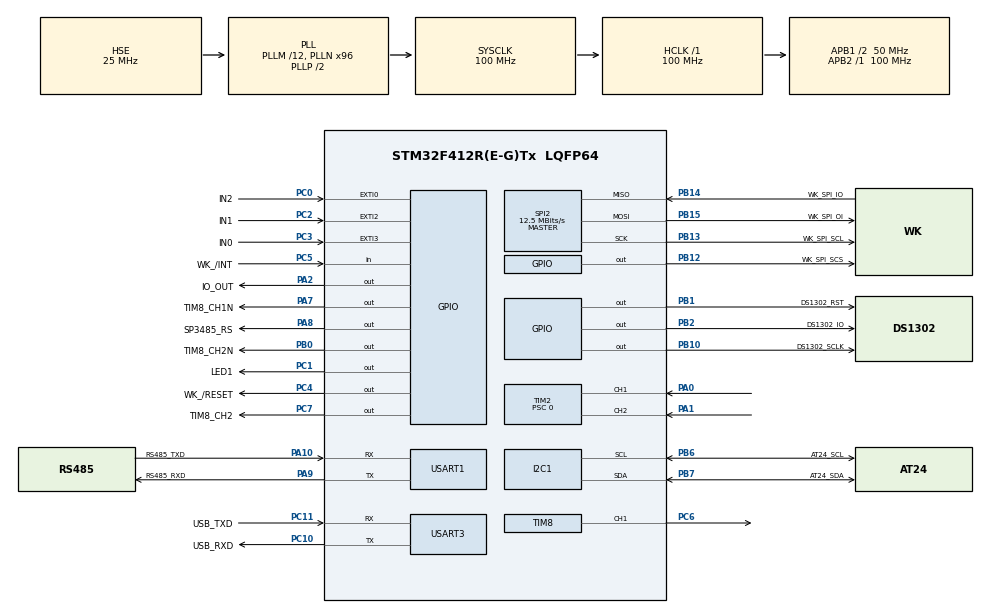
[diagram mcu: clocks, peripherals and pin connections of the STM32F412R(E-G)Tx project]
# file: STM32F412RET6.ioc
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Dma.Request0=USART1_RX
Dma.Request1=USART1_TX
Dma.USART1_RX.0.Direction=DMA_PERIPH_TO_MEMORY
Dma.USART1_RX.0.FIFOMode=DMA_FIFOMODE_DISABLE
Dma.USART1_RX.0.Instance=DMA2_Stream2
Dma.USART1_RX.0.MemDataAlignment=DMA_MDATAALIGN_BYTE
Dma.USART1_RX.0.MemInc=DMA_MINC_ENABLE
Dma.USART1_RX.0.Mode=DMA_NORMAL
Dma.USART1_RX.0.PeriphDataAlignment=DMA_PDATAALIGN_BYTE
Dma.USART1_RX.0.PeriphInc=DMA_PINC_DISABLE
Dma.USART1_RX.0.Priority=DMA_PRIORITY_LOW
Dma.USART1_TX.1.Direction=DMA_MEMORY_TO_PERIPH
Dma.USART1_TX.1.FIFOMode=DMA_FIFOMODE_DISABLE
Dma.USART1_TX.1.Instance=DMA2_Stream7
Dma.USART1_TX.1.MemDataAlignment=DMA_MDATAALIGN_BYTE
Dma.USART1_TX.1.MemInc=DMA_MINC_ENABLE
Dma.USART1_TX.1.Mode=DMA_NORMAL
Dma.USART1_TX.1.PeriphDataAlignment=DMA_PDATAALIGN_BYTE
Dma.USART1_TX.1.PeriphInc=DMA_PINC_DISABLE
Dma.USART1_TX.1.Priority=DMA_PRIORITY_LOW
FREERTOS.Queues01=myQueue01,5,uint8_t,0,Dynamic,NULL,NULL
FREERTOS.Tasks01=defaultTask,24,128,StartDefaultTask,Default,NULL,Dynamic,NULL,NULL;myTask01,8,128,StartTask01,Default,NULL,Dynamic,NULL,NULL
FREERTOS.configMAX_TASK_NAME_LEN=32
I2C1.I2C_Mode=I2C_Fast
Mcu.Family=STM32F4
Mcu.Name=STM32F412R(E-G)Tx
Mcu.Package=LQFP64
NVIC.DMA2_Stream2_IRQn=true\:5\:0\:false\:false\:true\:true\:false\:true\:true
NVIC.DMA2_Stream7_IRQn=true\:5\:0\:false\:false\:true\:true\:false\:true\:true
NVIC.EXTI0_IRQn=true\:5\:0\:false\:false\:true\:true\:true\:true\:true
NVIC.EXTI2_IRQn=true\:5\:0\:false\:false\:true\:true\:true\:true\:true
NVIC.EXTI3_IRQn=true\:5\:0\:false\:false\:true\:true\:true\:true\:true
NVIC.I2C1_ER_IRQn=true\:5\:0\:false\:false\:true\:true\:true\:true\:true
NVIC.I2C1_EV_IRQn=true\:5\:0\:false\:false\:true\:true\:true\:true\:true
NVIC.PriorityGroup=NVIC_PRIORITYGROUP_4
NVIC.SPI2_IRQn=true\:5\:0\:false\:false\:true\:true\:true\:true\:true
NVIC.TIM1_UP_TIM10_IRQn=true\:15\:0\:false\:false\:true\:false\:false\:true\:true
NVIC.TIM2_IRQn=true\:5\:0\:true\:false\:true\:true\:true\:true\:true
NVIC.TIM3_IRQn=true\:6\:0\:true\:false\:true\:true\:true\:true\:true
NVIC.TIM8_BRK_TIM12_IRQn=true\:5\:0\:false\:false\:true\:true\:true\:true\:true
NVIC.TIM8_CC_IRQn=true\:5\:0\:false\:false\:true\:true\:true\:true\:true
NVIC.TIM8_TRG_COM_TIM14_IRQn=true\:5\:0\:false\:false\:true\:true\:true\:true\:true
NVIC.TIM8_UP_TIM13_IRQn=true\:5\:0\:false\:false\:true\:true\:true\:true\:true
NVIC.TimeBase=TIM1_UP_TIM10_IRQn
NVIC.TimeBaseIP=TIM1
NVIC.USART1_IRQn=true\:5\:0\:false\:false\:true\:true\:true\:true\:true
NVIC.USART3_IRQn=true\:5\:0\:false\:false\:true\:true\:true\:true\:true
PA0.GPIO_PuPd=GPIO_PULLUP
PA0.Signal=S_TIM2_CH1_ETR
PA1.GPIO_PuPd=GPIO_PULLUP
PA1.Signal=S_TIM2_CH2
PA10.GPIO_Label=RS485_TXD
PA10.Mode=Asynchronous
PA10.Signal=USART1_RX
PA13.GPIO_Label=TMS
PA13.Mode=JTAG_5_pins
PA13.Signal=SYS_JTMS-SWDIO
PA14.GPIO_Label=TCK
PA14.Mode=JTAG_5_pins
PA14.Signal=SYS_JTCK-SWCLK
PA15.GPIO_Label=TDI
PA15.Mode=JTAG_5_pins
PA15.Signal=SYS_JTDI
PA2.GPIO_Label=IO_OUT
PA2.GPIO_PuPd=GPIO_PULLDOWN
PA2.Signal=GPIO_Output
PA7.GPIO_Label=TIM8_CH1N
PA7.GPIO_PuPd=GPIO_PULLDOWN
PA7.Signal=GPIO_Output
PA8.GPIO_Label=SP3485_RS
PA8.Signal=GPIO_Output
PA9.GPIO_Label=RS485_RXD
PA9.Mode=Asynchronous
PA9.Signal=USART1_TX
PB0.GPIO_Label=TIM8_CH2N
PB0.GPIO_PuPd=GPIO_PULLUP
PB0.Signal=GPIO_Output
PB1.GPIO_Label=DS1302_RST
PB1.Signal=GPIO_Output
PB10.GPIO_Label=DS1302_SCLK
PB10.GPIO_PuPd=GPIO_PULLUP
PB10.Signal=GPIO_Output
PB12.GPIO_Label=WK_SPI_SCS
PB12.GPIO_ModeDefaultOutputPP=GPIO_MODE_OUTPUT_PP
PB12.GPIO_PuPd=GPIO_PULLUP
PB12.Signal=GPIO_Output
PB13.GPIO_Label=WK_SPI_SCL
PB13.Mode=Full_Duplex_Master
PB13.Signal=SPI2_SCK
PB14.GPIO_Label=WK_SPI_IO
PB14.Mode=Full_Duplex_Master
PB14.Signal=SPI2_MISO
PB15.GPIO_Label=WK_SPI_OI
PB15.Mode=Full_Duplex_Master
PB15.Signal=SPI2_MOSI
PB2.GPIO_Label=DS1302_IO
PB2.Signal=GPIO_Output
PB3.GPIO_Label=TDO
PB3.Mode=JTAG_5_pins
PB3.Signal=SYS_JTDO-SWO
PB4.GPIO_Label=NTRST
PB4.Mode=JTAG_5_pins
PB4.Signal=SYS_JTRST
PB6.GPIO_Label=AT24_SCL
PB6.Mode=I2C
PB6.Signal=I2C1_SCL
PB7.GPIO_Label=AT24_SDA
PB7.Mode=I2C
PB7.Signal=I2C1_SDA
PC0.GPIO_Label=IN2
PC0.GPIO_ModeDefaultEXTI=GPIO_MODE_IT_FALLING
PC0.Signal=GPXTI0
PC1.GPIO_Label=LED1
PC1.GPIO_PuPd=GPIO_PULLUP
PC1.Signal=GPIO_Output
PC10.GPIO_Label=USB_RXD
PC10.Mode=Asynchronous
PC10.Signal=USART3_TX
PC11.GPIO_Label=USB_TXD
PC11.Mode=Asynchronous
PC11.Signal=USART3_RX
PC2.GPIO_Label=IN1
PC2.GPIO_ModeDefaultEXTI=GPIO_MODE_IT_FALLING
PC2.Signal=GPXTI2
PC3.GPIO_Label=IN0
PC3.GPIO_ModeDefaultEXTI=GPIO_MODE_IT_FALLING
PC3.Signal=GPXTI3
PC4.GPIO_Label=WK_/RESET
PC4.Signal=GPIO_Output
PC5.GPIO_Label=WK_/INT
PC5.Signal=GPIO_Input
PC6.GPIO_Speed=GPIO_SPEED_FREQ_HIGH
PC6.Signal=S_TIM8_CH1
PC7.GPIO_Label=TIM8_CH2
PC7.GPIO_PuPd=GPIO_PULLUP
PC7.Signal=GPIO_Output
PH0\ -\ OSC_IN.Mode=HSE-External-Oscillator
PH0\ -\ OSC_IN.Signal=RCC_OSC_IN
PH1\ -\ OSC_OUT.Mode=HSE-External-Oscillator
PH1\ -\ OSC_OUT.Signal=RCC_OSC_OUT
ProjectManager.HeapSize=0x200
ProjectManager.StackSize=0x400
ProjectManager.TargetToolchain=MDK-ARM V5.32
RCC.AHBFreq_Value=100000000
RCC.APB1CLKDivider=RCC_HCLK_DIV2
RCC.APB1Freq_Value=50000000
RCC.APB1TimFreq_Value=100000000
RCC.APB2Freq_Value=100000000
RCC.APB2TimFreq_Value=100000000
RCC.CortexFreq_Value=100000000
RCC.HCLKFreq_Value=100000000
RCC.PLLM=12
RCC.PLLN=96
RCC.PLLSourceVirtual=RCC_PLLSOURCE_HSE
RCC.SYSCLKFreq_VALUE=100000000
RCC.SYSCLKSource=RCC_SYSCLKSOURCE_PLLCLK
RCC.USBFreq_Value=100000000
RCC.VCOOutputFreq_Value=200000000
SH.S_TIM2_CH1_ETR.0=TIM2_CH1,Encoder_Interface
SH.S_TIM2_CH2.0=TIM2_CH2,Encoder_Interface
SH.S_TIM8_CH1.0=TIM8_CH1,PWM Generation1 CH1
SPI2.BaudRatePrescaler=SPI_BAUDRATEPRESCALER_4
SPI2.CLKPhase=SPI_PHASE_2EDGE
SPI2.CLKPolarity=SPI_POLARITY_HIGH
SPI2.CalculateBaudRate=12.5 MBits/s
SPI2.Direction=SPI_DIRECTION_2LINES
SPI2.Mode=SPI_MODE_MASTER
SPI2.VirtualType=VM_MASTER
TIM13.Period=500-1
TIM13.Prescaler=10-1
TIM2.EncoderMode=TIM_ENCODERMODE_TI12
TIM2.IC1Filter=6
TIM2.IC2Filter=6
TIM2.Period=20000
TIM2.Prescaler=0
TIM3.AutoReloadPreload=TIM_AUTORELOAD_PRELOAD_ENABLE
TIM3.Period=10-1
TIM3.Prescaler=100-1
TIM8.AutoReloadPreload=TIM_AUTORELOAD_PRELOAD_ENABLE
TIM8.Channel-PWM\ Generation1\ CH1=TIM_CHANNEL_1
TIM8.Period=50-1
TIM8.Prescaler=100-1
TIM8.Pulse-PWM\ Generation1\ CH1=5
USART1.VirtualMode=VM_ASYNC
USART3.VirtualMode=VM_ASYNC
VP_FREERTOS_VS_CMSIS_V2.Mode=CMSIS_V2
VP_SYS_VS_tim1.Mode=TIM1
VP_TIM13_VS_ClockSourceINT.Mode=Enable_Timer
VP_TIM3_VS_ClockSourceINT.Mode=Internal
board=custom

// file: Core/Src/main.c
/* USER CODE BEGIN Header */
/**
  ******************************************************************************
  * @file           : main.c
  * @brief          : Main program body
  ******************************************************************************
  * @attention
  *
  * Copyright (c) 2024 STMicroelectronics.
  * All rights reserved.
  *
  * This software is licensed under terms that can be found in the LICENSE file
  * in the root directory of this software component.
  * If no LICENSE file comes with this software, it is provided AS-IS.
  *
  ******************************************************************************
  */
/* USER CODE END Header */
#include "main.h"
#include "cmsis_os.h"
#include "dma.h"
#include "i2c.h"
#include "spi.h"
#include "tim.h"
#include "usart.h"
#include "gpio.h"

/* USER CODE BEGIN PTD */
float speed_Record[SPEED_RECORD_NUM]={0};

/* USER CODE END PTD */

/* USER CODE BEGIN PD */
float Speed_Low_Filter(float new_Spe,float *speed_Record);
/* USER CODE END PD */

void SystemClock_Config(void);
void MX_FREERTOS_Init(void);

int main(void)
{

  /* MCU Configuration--------------------------------------------------------*/

  /* Reset of all peripherals, Initializes the Flash interface and the Systick. */
  HAL_Init();

  /* Configure the system clock */
  SystemClock_Config();

  /* Initialize all configured peripherals */
  MX_GPIO_Init();
  MX_DMA_Init();
  MX_TIM2_Init();
  MX_USART1_UART_Init();
  MX_I2C1_Init();
  MX_SPI2_Init();
  MX_TIM3_Init();
  MX_TIM8_Init();
  MX_TIM13_Init();
  MX_USART3_UART_Init();

  /* Init scheduler */
  osKernelInitialize();  /* Call init function for freertos objects (in freertos.c) */
  MX_FREERTOS_Init();

  /* Start scheduler */
  osKernelStart();

  /* We should never get here as control is now taken by the scheduler */
  /* Infinite loop */
  while (1)
  {

  }
}

void SystemClock_Config(void)
{
  RCC_OscInitTypeDef RCC_OscInitStruct = {0};
  RCC_ClkInitTypeDef RCC_ClkInitStruct = {0};

  /** Configure the main internal regulator output voltage
  */
  __HAL_RCC_PWR_CLK_ENABLE();
  __HAL_PWR_VOLTAGESCALING_CONFIG(PWR_REGULATOR_VOLTAGE_SCALE1);

  /** Initializes the RCC Oscillators according to the specified parameters
  * in the RCC_OscInitTypeDef structure.
  */
  RCC_OscInitStruct.OscillatorType = RCC_OSCILLATORTYPE_HSE;
  RCC_OscInitStruct.HSEState = RCC_HSE_ON;
  RCC_OscInitStruct.PLL.PLLState = RCC_PLL_ON;
  RCC_OscInitStruct.PLL.PLLSource = RCC_PLLSOURCE_HSE;
  RCC_OscInitStruct.PLL.PLLM = 12;
  RCC_OscInitStruct.PLL.PLLN = 96;
  RCC_OscInitStruct.PLL.PLLP = RCC_PLLP_DIV2;
  RCC_OscInitStruct.PLL.PLLQ = 2;
  RCC_OscInitStruct.PLL.PLLR = 2;
  if (HAL_RCC_OscConfig(&RCC_OscInitStruct) != HAL_OK)
  {
    Error_Handler();
  }

  /** Initializes the CPU, AHB and APB buses clocks
  */
  RCC_ClkInitStruct.ClockType = RCC_CLOCKTYPE_HCLK|RCC_CLOCKTYPE_SYSCLK
                              |RCC_CLOCKTYPE_PCLK1|RCC_CLOCKTYPE_PCLK2;
  RCC_ClkInitStruct.SYSCLKSource = RCC_SYSCLKSOURCE_PLLCLK;
  RCC_ClkInitStruct.AHBCLKDivider = RCC_SYSCLK_DIV1;
  RCC_ClkInitStruct.APB1CLKDivider = RCC_HCLK_DIV2;
  RCC_ClkInitStruct.APB2CLKDivider = RCC_HCLK_DIV1;

  if (HAL_RCC_ClockConfig(&RCC_ClkInitStruct, FLASH_LATENCY_3) != HAL_OK)
  {
    Error_Handler();
  }
}

/* USER CODE BEGIN 4 */

void HAL_GPIO_EXTI_Callback(uint16_t GPIO_Pin)//GPIO中断回调函数
{
	if(GPIO_Pin==IN0_Pin)
	{
		__HAL_GPIO_EXTI_CLEAR_IT(IN0_Pin);//清除中断标志位
		if(Extreme_position_flag==0&&Sports_status_flag==1)
		{
			HAL_TIM_PWM_Stop_IT(&htim8,TIM_CHANNEL_1);//关闭PWM输出
			Extreme_position_flag=1;
		}
	}

	else if(GPIO_Pin==IN1_Pin)//原点
	{
		if(Position_flag==0)//复位后
		{
			Position_flag=1;
			HAL_TIM_PWM_Stop_IT(&htim8,TIM_CHANNEL_1);//关闭PWM输出
			HAL_GPIO_WritePin(TIM8_CH1N_GPIO_Port,TIM8_CH1N_Pin,GPIO_PIN_SET);//PA7-电机使能正输入(GPIO_PIN_RESET:开始，GPIO_PIN_SET:停止）
			Sports_status_flag=0;
		}
//		else if(Position_flag==1)//自检
//		{
//			Position_flag=2;
//		}
		Encoder_Processing_flag=1;
		__HAL_TIM_SetCounter(&htim2, 10000);//校验位置
		__HAL_GPIO_EXTI_CLEAR_IT(IN1_Pin);//清除中断标志位
	}

	else if(GPIO_Pin==IN2_Pin)
	{
		__HAL_GPIO_EXTI_CLEAR_IT(IN2_Pin);//清除中断标志位
		if(Extreme_position_flag==0&&Sports_status_flag==1)
		{
			HAL_TIM_PWM_Stop_IT(&htim8,TIM_CHANNEL_1);//关闭PWM输出
			Extreme_position_flag=1;
		}
	}
}

/*
 * 进行速度的平均滤波
 * 输入新采样到的速度，存放速度的数组，
 * 返回滤波后的速度
 */
float Speed_Low_Filter(float new_Spe,float *speed_Record)
{
    float sum = 0.0f;
    float test_Speed;
    for(uint8_t i=SPEED_RECORD_NUM-1;i>0;i--)//将现有数据后移一位
    {
        speed_Record[i] = speed_Record[i-1];
        sum += speed_Record[i-1];
    }
    speed_Record[0] = new_Spe;//第一位是新的数据
    sum += new_Spe;
    test_Speed = sum/SPEED_RECORD_NUM;
    return test_Speed;//返回均值
}

void Motor_Rive(GPIO_PinState enable,GPIO_PinState direction,uint16_t number)//电机驱动函数
{
	uint8_t number_i=0xff;
	if(number>0x05)
	{
		HAL_GPIO_WritePin(TIM8_CH1N_GPIO_Port,TIM8_CH1N_Pin,enable);//PA7-电机使能正输入(GPIO_PIN_RESET:开始，GPIO_PIN_SET:停止）
		osDelay(1);
		HAL_GPIO_WritePin(TIM8_CH2_GPIO_Port,TIM8_CH2_Pin,direction);//PC7-电机方向控制(GPIO_PIN_RESET:顺时针，GPIO_PIN_SET:逆时针）
		osDelay(1);
		HAL_TIM_Base_Start_IT(&htim8);//开启TIM8定时器中断（20KHZ，周期50us）
		while(number_i>number)
		{
			number_i--;
			__HAL_TIM_SET_AUTORELOAD(&htim8,number_i);//修改自动重装载值
	//		__HAL_TIM_PRESCALER(&htim8,number);//修改预分频值
	//		TIM8->CCR1 = running_speed_value;//修改占空比
	//		__HAL_TIM_SET_COMPARE(&htim8, TIM_CHANNEL_1, number);//修改占空比
			HAL_TIM_PWM_Start_IT(&htim8,TIM_CHANNEL_1);//启动TIM8_CH1的PWM波输出（中断）
			if(number_i>=0x96)
			{
				HAL_Delay(5);
			}
			else if(0x96>number_i&&number_i>=0x28)
			{
				HAL_Delay(15);
			}
			else
			{
				HAL_Delay(20);
			}
		}
		number_i=0xff;
	}
}
/* USER CODE END 4 */

void HAL_TIM_PeriodElapsedCallback(TIM_HandleTypeDef *htim)
{
  if (htim->Instance == TIM1) {
    HAL_IncTick();
  }
  /* USER CODE BEGIN Callback 1 */
	else if(htim->Instance==TIM3)//间隔定时器中断，是时候计算速度了（1ms处理一次）
	{
		Encoder_Processing_flag=1;
	}

	else if(htim->Instance==TIM2)//编码器溢出更新中断
	{
		if(COUNTERNUM < 10000)	motor1.overflowNum++;         //向上计数超过10000，正溢出+1
		else if(COUNTERNUM > 10000)	motor1.overflowNum--;     //向下计数小于0，负溢出+1
		__HAL_TIM_SetCounter(&htim2, 10000);             //重新设定初始值
	}

//	else if(htim->Instance==TIM8)//PWM输出
//	{
//
//	}
	else if(htim->Instance==TIM13)//硬触发定时50us一次
	{
		HAL_GPIO_WritePin(IO_OUT_GPIO_Port, IO_OUT_Pin, GPIO_PIN_RESET);//硬触发关闭
		HAL_TIM_Base_Stop_IT(&htim13);
		Hard_Trigger_flag=1;
	}
  /* USER CODE END Callback 1 */
}

void Error_Handler(void)
{
  __disable_irq();
  while (1)
  {
  }
}

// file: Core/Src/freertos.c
/* USER CODE BEGIN Header */
/**
  ******************************************************************************
  * File Name          : freertos.c
  * Description        : Code for freertos applications
  ******************************************************************************
  * @attention
  *
  * Copyright (c) 2024 STMicroelectronics.
  * All rights reserved.
  *
  * This software is licensed under terms that can be found in the LICENSE file
  * in the root directory of this software component.
  * If no LICENSE file comes with this software, it is provided AS-IS.
  *
  ******************************************************************************
  */
/* USER CODE END Header */

#include "FreeRTOS.h"
#include "task.h"
#include "main.h"
#include "cmsis_os.h"

/* USER CODE BEGIN PTD */
wiz_NetInfo gWIZNETINFO = {
  .mac = { 0x80, 0x80, 0x80,0x80,0x80,0x80 },//MSB - LSB
  .ip  = { 192, 168, 1, 11 },
  .sn  = { 255, 255, 255, 0 },
  .gw  = { 192, 168, 1, 1 },//网关参数
  .dns  = { 8, 8, 8, 8 },
  .dhcp = NETINFO_STATIC };

uint8_t receive_buff[RECEIVE_BUFF_SIZE];

Motor motor1;
float Position=0;//距0点位置,单位mm
uint32_t Position_upload=0;//距0点距离上传值（单位0.001mm）
uint32_t zero_return_speed_value=0x10;//回零速度（单位0.001mm/s）
uint16_t pwmVal_TIM8 = 0;  //占空比大小(CCRx的大小，高电平时间)
uint8_t Position_flag=0;//位置标志位
uint8_t Sports_status_flag=0;//运动状态标志位
uint8_t Extreme_position_flag=0;//极限位置标志位
uint8_t Position_upload_flag=0;//位置上传标志位
uint8_t Encoder_Processing_flag=0;//编码器数据处理标志位
float Track_Length=0;//轨道长，单位毫米
uint32_t Target_Position=0;//目标位置
uint8_t Sports_mode=0;//运动模式
uint16_t Hard_Trigger_Number=0;//硬触发个数
uint16_t Hard_Trigger_Current_Number=0;//硬触发当前个数
uint32_t Hard_Trigger_Interval=0;//硬触发时间间隔
uint32_t Hard_Trigger_Position=0;//硬触发开始位置
uint8_t Hard_Trigger_start_flag=0;//硬触发开始标志位
uint8_t Hard_Trigger_flag=0;//硬触发标志位
/* USER CODE END PTD */

/* Definitions for defaultTask */
osThreadId_t defaultTaskHandle;
const osThreadAttr_t defaultTask_attributes = {
  .name = "defaultTask",
  .stack_size = 128 * 4,
  .priority = (osPriority_t) osPriorityNormal,
};
/* Definitions for myTask01 */
osThreadId_t myTask01Handle;
const osThreadAttr_t myTask01_attributes = {
  .name = "myTask01",
  .stack_size = 128 * 4,
  .priority = (osPriority_t) osPriorityLow,
};
/* Definitions for myQueue01 */
osMessageQueueId_t myQueue01Handle;
const osMessageQueueAttr_t myQueue01_attributes = {
  .name = "myQueue01"
};

/* USER CODE BEGIN FunctionPrototypes */
osThreadId_t Ethernet_ServerTaskHandle;
const osThreadAttr_t Ethernet_ServerTask_attributes = {
  .name = "Ethernet_ServerTask",
  .stack_size = 256 * 4,
  .priority = (osPriority_t) osPriorityLow,
};

osThreadId_t EncoderTaskHandle;
const osThreadAttr_t EncoderTask_attributes = {
  .name = "EncoderTask",
  .stack_size = 128 * 4,
  .priority = (osPriority_t) osPriorityLow,
};

osThreadId_t DriveTaskHandle;
const osThreadAttr_t DriveTask_attributes = {
  .name = "DriveTask",
  .stack_size = 128 * 4,
  .priority = (osPriority_t) osPriorityLow,
};

osThreadId_t Pulse_EmissionTaskHandle;
const osThreadAttr_t Pulse_EmissionTask_attributes = {
  .name = "Pulse_EmissionTask",
  .stack_size = 128 * 4,
  .priority = (osPriority_t) osPriorityLow,
};

osThreadId_t Extreme_position_DriveTaskHandle;
const osThreadAttr_t Extreme_position_DriveTask_attributes = {
  .name = "Extreme_position_DriveTask",
  .stack_size = 128 * 4,
  .priority = (osPriority_t) osPriorityLow,
};

osMessageQueueId_t Ethernet_ReceiveHandle;
const osMessageQueueAttr_t Ethernet_Receive_attributes = {
  .name = "Ethernet_Receive"
};

osMessageQueueId_t Ethernet_SendHandle;
const osMessageQueueAttr_t Ethernet_Send_attributes = {
  .name = "Ethernet_Send"
};

void Ethernet_Server(void *argument);//网络通信-服务端
void Encoder(void *argument);//电动机编码器通讯
void Drive(void *argument);//控制驱动器
void Pulse_Emission(void *argument);//脉冲发射
void Extreme_position_Drive(void *argument);//屏幕通信
/* USER CODE END FunctionPrototypes */

void StartDefaultTask(void *argument);
void StartTask01(void *argument);

void MX_FREERTOS_Init(void); /* (MISRA C 2004 rule 8.1) */

void MX_FREERTOS_Init(void) {

  /* Create the queue(s) */
  /* creation of myQueue01 */
  myQueue01Handle = osMessageQueueNew (5, sizeof(uint8_t), &myQueue01_attributes);

  /* Create the thread(s) */
  /* creation of defaultTask */
  defaultTaskHandle = osThreadNew(StartDefaultTask, NULL, &defaultTask_attributes);

  /* creation of myTask01 */
  myTask01Handle = osThreadNew(StartTask01, NULL, &myTask01_attributes);

  /* USER CODE BEGIN RTOS_THREADS */
	Ethernet_ServerTaskHandle = osThreadNew(Ethernet_Server, NULL, &Ethernet_ServerTask_attributes);
	EncoderTaskHandle = osThreadNew(Encoder, NULL, &EncoderTask_attributes);
	DriveTaskHandle = osThreadNew(Drive, NULL, &DriveTask_attributes);
	Pulse_EmissionTaskHandle = osThreadNew(Pulse_Emission, NULL, &Pulse_EmissionTask_attributes);
	Extreme_position_DriveTaskHandle = osThreadNew(Extreme_position_Drive, NULL, &Extreme_position_DriveTask_attributes);

	Ethernet_ReceiveHandle = osMessageQueueNew (5, 20*sizeof(uint8_t), &Ethernet_Receive_attributes);
	Ethernet_SendHandle = osMessageQueueNew (5, 20*sizeof(uint8_t), &Ethernet_Send_attributes);

  /* add threads, ... */
  /* USER CODE END RTOS_THREADS */

}

void StartDefaultTask(void *argument)
{
  for(;;)
  {
    osDelay(1);
  }
}

void StartTask01(void *argument)
{
  for(;;)
  {
    osDelay(1);
  }
}

/* USER CODE BEGIN Application */

void Ethernet_Server(void *argument)//网口通信-服务端
{
	printf("A simple Ping Application using W5500!\r\n");
  W5500Init();//w5500初始化
  ctlnetwork(CN_SET_NETINFO, (void*)&gWIZNETINFO);  //配置网络参数
  wiz_PhyConf phyconf;
  phyconf.by = PHY_CONFBY_SW;
  phyconf.duplex = PHY_DUPLEX_FULL;
  phyconf.speed = PHY_SPEED_10;
  phyconf.mode = PHY_MODE_AUTONEGO;
  ctlwizchip(CW_SET_PHYCONF, (void*)&phyconf); //配置PHY参数
  PHYStatusCheck();//检查网络连接参数
  PrintPHYConf();//打印PHY配置信息
  printf("Simple Ping Application\r\n");
  for(;;)
  {
		osDelay(1);
    printf("\r\nInitializing server socket\r\n");
	  //Parameters in order socket_id, protocol TCP or UDP, Port number, Flags=0
	  //Return value is socket ID on success
	  if(socket(1,Sn_MR_TCP,LISTEN_PORT,0)!=1)//创建一个socket：Socket号，TCP/UDP类型，端口号
	  {
		  //error
		  printf("Cannot create Socket!\r\n");
		  while(1);//halt here
	  }
	  //success
	  printf("Socket Created Successfully ! \r\n");
	  uint8_t socket_io_mode=SOCK_IO_BLOCK;
	  ctlsocket(1, CS_SET_IOMODE , &socket_io_mode);//set blocking IO mode
    printf("IP Address is %d.%d.%d.%d\r\n",gWIZNETINFO.ip[0],gWIZNETINFO.ip[1],gWIZNETINFO.ip[2],gWIZNETINFO.ip[3]);
	  printf("Start listening on port %d ! \r\n",LISTEN_PORT);
	  printf("Waiting for a client connection. \r\n");
	  //Make it a passive socket (i.e. listen for connection)
	  if(listen(1)!=SOCK_OK)//监听端口
	  {//our socket id is 1 (w5500 have 8 sockets from 0-7)
		  //error
		  printf("Cannot listen on port %d",LISTEN_PORT);
		  while(1);
	  }
	  uint8_t sr=0x00;//socket status register
	  do
	  {
		  sr=getSn_SR(1);//获取Sn_SR寄存器，参数0~7
	  }while (sr!=SOCK_ESTABLISHED && sr!=SOCK_CLOSED);

	  if(sr==SOCK_CLOSED)
	  {
		  printf("Some error occurred on server socket. Please restart.\r\n");
		  while(1);
	  }
	  if(sr==SOCK_ESTABLISHED)//成功连接
	  {
		  //we come here only when a client has connected.
		  //Now we can read data from the socket
		  printf("A client connected!\r\n");
		  printf("Waiting for Client Data ...!\r\n");
		  while(1)
		  {
			  int len=recv(1, receive_buff, RECEIVE_BUFF_SIZE);//从连接设备读取数据到receive_buff
			  if(len==SOCKERR_SOCKSTATUS)	// 读取W5500空闲接收缓存寄存器的值并赋给len
			  {
				  //client has disconnected
				  printf("Client has disconnected\r\n");
				  printf("*** SESSION OVER ***\r\n\r\n");
				  break;
			  }
				//Look for quit message and quit if received
			  if(strcmp((char*)receive_buff,"QUIT")==0)
			  {//收到"QUIT"，端口客户端连接
				  printf("Received QUIT command from client\r\n");
				  printf("Disconnecting ... \r\n");
				  printf("*** SESSION OVER ***\r\n\r\n");
				  disconnect(1);//disconnect from the clinet 断开客户端连接
				  break;//come out of while loop 退出，回到131行，重新等待客户端连接
			  }
				osMessageQueuePut(Ethernet_ReceiveHandle,receive_buff,1,0);
				memset(receive_buff,0,RECEIVE_BUFF_SIZE);
		  }//While loop (as long as client is connected)
//			send(1,(uint8_t*)Position,2);// the data          向客户端发送接收到的内容或者特定的回答
	  }//if block, client connect success
  }
}

void Drive(void *argument)//控制驱动器
{
	uint8_t	send_buff[13];
	uint8_t status=0;
	uint32_t running_speed_value=0x00;//运行速度
	uint32_t zero_return_creep_speed_value=0;//回零蠕变速度
	uint8_t Drive_control_array[20];	//驱动器控制数组
	uint16_t Data_Bytes=0;//数据字节
//	HAL_GPIO_WritePin(CH2_GPIO_Port,CH2_Pin,GPIO_PIN_RESET);//PC7-电机使能正输入(GPIO_PIN_RESET:开始，GPIO_PIN_SET:停止）
//	osDelay(1);
//	HAL_GPIO_WritePin(CH2N_GPIO_Port,CH2N_Pin,GPIO_PIN_SET);//PB0-电机方向控制(GPIO_PIN_RESET:顺时针，GPIO_PIN_SET:逆时针）
//	osDelay(1);
//	HAL_TIM_Base_Start_IT(&htim8);//开启TIM8定时器中断（20KHZ，周期50us）
  for(;;)
  {
		osDelay(1);
		status=osMessageQueueGet(Ethernet_ReceiveHandle,Drive_control_array,NULL,10);
		if(status==osOK)
		{
			send_buff[0]=Drive_control_array[0];//0X19;事务处理标识
			send_buff[1]=Drive_control_array[1];//0XB2;事务处理标识
			send_buff[2]=0X00;//协议标识符，00 00为modbus协议
			send_buff[3]=0X00;//协议标识符，00 00为modbus协议
			send_buff[6]=Drive_control_array[6];//0XDB;设备地址
			send_buff[7]=Drive_control_array[7];//功能码
			switch(Drive_control_array[7])//判断功能码
			{
				case 0x01://读线圈(MBAP 功能码 起始地址H 起始地址L 线圈数量H 线圈数量L)
					if(Drive_control_array[8]==0x20)//判断起始地址
					{
						switch(Drive_control_array[9])//判断起始地址
						{
							case 0x0A://原点回归完成标志

								break;

							case 0x64://伺服运动状态

								break;

							case 0x01://原点回归/停止
								send_buff[4]=0X00;//数据长度
								send_buff[5]=0X05;//数据长度
								send_buff[8]=0X01;//接下来数据的字节长度
								if(Position_flag==1)//在原点
								{
									send_buff[9]=0X01;
								}
								else if(Position_flag==0)//不在原点
								{
									send_buff[9]=0X00;
								}
								send(1,send_buff,10);//向客户端发送
								memset(send_buff,0,13);
								break;

							case 0x02://正转点动/停止

								break;

							case 0x03://反转点动/停止

								break;

							case 0x04://相对运动/停止

								break;

							case 0x05://绝对运动/停止
								send_buff[4]=0X00;//数据长度
								send_buff[5]=0X05;//数据长度
								send_buff[8]=0X01;//接下来数据的字节长度
								if(Sports_status_flag==1)//运动
								{
									send_buff[9]=0X01;//数据
								}
								else if(Sports_status_flag==0)//停止
								{
									send_buff[9]=0X00;//数据
								}
								send(1,send_buff,10);//向客户端发送
								memset(send_buff,0,13);
								break;

							case 0x00://硬触发启动/停止
								send_buff[4]=0X00;//数据长度
								send_buff[5]=0X05;//数据长度
								send_buff[8]=0X01;//接下来数据的字节长度
								if(Hard_Trigger_start_flag==1)//触发
								{
									send_buff[9]=0X01;//数据
								}
								else//停止
								{
									send_buff[9]=0X00;//数据
								}
								send(1,send_buff,10);//向客户端发送
								memset(send_buff,0,13);
								break;

							case 0x06://伺服复位

								break;

							case 0x09://雷达上电/断电
								send_buff[4]=0X00;//数据长度
								send_buff[5]=0X06;//数据长度
								send_buff[8]=0X01;//接下来数据的字节长度
//								if()//上电
//								{
//									send_buff[9]=0X01;//数据
//								}
//								else//
//								{
//									send_buff[9]=0X00;//数据
//								}
								send(1,send_buff,10);//向客户端发送
								memset(send_buff,0,13);
								break;

							default:
								break;
						}
					}
					break;

				case 0x02://读离散量输入
					send_buff[4]=0X00;//数据长度
					send_buff[5]=0X04;//数据长度
					send_buff[8]=0X01;//接下来数据的字节长度
					if(Drive_control_array[8]==0x00&&Drive_control_array[9]==0x01)//判断起始地址——正转极限光电状态
					{

					}
					else if(Drive_control_array[8]==0x00&&Drive_control_array[9]==0x03)//判断起始地址——反转极限光电状态
					{

					}
					else if(Drive_control_array[8]==0x00&&Drive_control_array[9]==0x04)//判断起始地址——零点限位触发状态
					{

					}
					else if(Drive_control_array[8]==0x00&&Drive_control_array[9]==0x05)//判断起始地址——伺服报警状态
					{

					}
					break;

				case 0x03://读保持寄存器(MBAP 功能码 起始地址H 起始地址L 寄存器数量H 寄存器数量L)
					Data_Bytes=(Drive_control_array[10]<<8|Drive_control_array[11])*2;//大端传输数据处理——读取数据字节
					send_buff[4]=0X00;//数据长度
					send_buff[5]=0x03+Data_Bytes;//数据长度
					if(Drive_control_array[8]==0x01)//判断起始地址
					{
						if(Data_Bytes==0x02)
						{
							if(Drive_control_array[9]==0x4A)//判断起始地址——加速时间
							{
								send_buff[8]=Data_Bytes;//接下来数据的字节长度
								send_buff[9]=0X00;//数据
								send_buff[10]=0X00;//数据
								send(1,send_buff,11);//向客户端发送
								memset(send_buff,0,13);
							}
							else if(Drive_control_array[9]==0x4E)//判断起始地址——减速时间
							{
								send_buff[8]=Data_Bytes;//接下来数据的字节长度
								send_buff[9]=0X00;//数据
								send_buff[10]=0X00;//数据
								send(1,send_buff,11);//向客户端发送
								memset(send_buff,0,13);
							}
							else if(Drive_control_array[9]==0x00)//判断起始地址——实时位置上传控制
							{
								send_buff[8]=Data_Bytes;//接下来数据的字节长度
								send_buff[9]=(Position_upload>>8)&0xFF;//数据
								send_buff[10]=Position_upload&0xFF;//数据
								send(1,send_buff,11);//向客户端发送
								memset(send_buff,0,13);
							}
							else if(Drive_control_array[9]==0x30)//判断起始地址——硬触发个数
							{
								send_buff[8]=Data_Bytes;//接下来数据的字节长度
								send_buff[9]=(Hard_Trigger_Number>>8)&0xFF;//数据
								send_buff[10]=Hard_Trigger_Number&0xFF;//数据
								send(1,send_buff,11);//向客户端发送
								memset(send_buff,0,13);
							}
							else if(Drive_control_array[9]==0x32)//判断起始地址——当前硬触发个数
							{
								send_buff[8]=Data_Bytes;//接下来数据的字节长度
								send_buff[9]=0X00;//数据
								send_buff[10]=0X00;//数据
								send(1,send_buff,11);//向客户端发送
								memset(send_buff,0,13);
							}
						}
						else if(Data_Bytes==0x04)
						{
							if(Drive_control_array[9]==0x2C)//判断起始地址——起始硬触发位置
							{
								send_buff[8]=Data_Bytes;//接下来数据的字节长度
								send_buff[9]=(Hard_Trigger_Position>>24)&0xFF;//数据
								send_buff[10]=(Hard_Trigger_Position>>16)&0xFF;//数据
								send_buff[11]=(Hard_Trigger_Position>>8)&0xFF;//数据
								send_buff[12]=Hard_Trigger_Position&0xFF;//数据
								send(1,send_buff,13);//向客户端发送
								memset(send_buff,0,13);
							}
							else if(Drive_control_array[9]==0x2E)//判断起始地址——硬触发间隔
							{
								send_buff[8]=Data_Bytes;//接下来数据的字节长度
								send_buff[9]=(Hard_Trigger_Interval>>24)&0xFF;//寄存器1H-数据
								send_buff[10]=(Hard_Trigger_Interval>>16)&0xFF;//寄存器1L数据
								send_buff[11]=(Hard_Trigger_Interval>>8)&0xFF;//寄存器2H数据
								send_buff[12]=Hard_Trigger_Interval&0xFF;//寄存器2L数据
								send(1,send_buff,13);//向客户端发送
								memset(send_buff,0,13);
							}
						}
					}

					else if(Drive_control_array[8]==0x00)//判断起始地址
					{
						if(Data_Bytes==0x02)
						{
							if(Drive_control_array[9]==0x20)//判断起始地址——伺服错误代码
							{
								send_buff[8]=Data_Bytes;//接下来数据的字节长度
								send_buff[9]=0X00;//数据
								send_buff[10]=0X00;//数据
								send(1,send_buff,11);//向客户端发送
								memset(send_buff,0,13);
							}
							else if(Drive_control_array[9]==0x96)//判断起始地址——PLC错误代码
							{
								send_buff[8]=Data_Bytes;//接下来数据的字节长度
								send_buff[9]=0X00;//数据
								send_buff[10]=0X00;//数据
								send(1,send_buff,11);//向客户端发送
								memset(send_buff,0,13);
							}
						}
						else if(Data_Bytes==0x04)
						{
							if(Drive_control_array[9]==0x64)//判断起始地址——回零速度
							{
								send_buff[8]=Data_Bytes;//接下来数据的字节长度
								send_buff[9]=(zero_return_speed_value>>24)&0xFF;//数据
								send_buff[10]=(zero_return_speed_value>>16)&0xFF;//数据
								send_buff[11]=(zero_return_speed_value>>8)&0xFF;//数据
								send_buff[12]=zero_return_speed_value&0xFF;//数据
								send(1,send_buff,13);//向客户端发送
								memset(send_buff,0,13);
							}
							else if(Drive_control_array[9]==0x68)//判断起始地址——回零蠕变速度
							{
								send_buff[8]=Data_Bytes;//接下来数据的字节长度
								send_buff[9]=(zero_return_creep_speed_value>>24)&0xFF;//寄存器1H-数据
								send_buff[10]=(zero_return_creep_speed_value>>16)&0xFF;//寄存器1L-数据
								send_buff[11]=(zero_return_creep_speed_value>>8)&0xFF;//寄存器2H-数据
								send_buff[12]=zero_return_creep_speed_value&0xFF;//寄存器2L-数据
								send(1,send_buff,13);//向客户端发送
								memset(send_buff,0,13);
							}
							else if(Drive_control_array[9]==0x78)//判断起始地址——运行速度
							{
								send_buff[8]=Data_Bytes;//接下来数据的字节长度
								send_buff[9]=(running_speed_value>>24)&0xFF;//寄存器1H-数据
								send_buff[10]=(running_speed_value>>16)&0xFF;//寄存器1L-数据
								send_buff[11]=(running_speed_value>>8)&0xFF;//寄存器2H-数据
								send_buff[12]=running_speed_value&0xFF;//寄存器2L-数据
								send(1,send_buff,13);//向客户端发送
								memset(send_buff,0,13);
							}
							else if(Drive_control_array[9]==0x7A)//判断起始地址——相对定位距离
							{
								send_buff[8]=Data_Bytes;//接下来数据的字节长度
								send_buff[9]=0X00;//寄存器1H-数据
								send_buff[10]=0X00;//寄存器1L-数据
								send_buff[11]=0X00;//寄存器2H-数据
								send_buff[12]=0X00;//寄存器2L-数据
								send(1,send_buff,13);//向客户端发送
								memset(send_buff,0,13);
							}
							else if(Drive_control_array[9]==0x7C)//判断起始地址——绝对定位位置
							{
								send_buff[8]=Data_Bytes;//接下来数据的字节长度
								send_buff[9]=(Target_Position>>24)&0xFF;//寄存器1H-数据
								send_buff[10]=(Target_Position>>16)&0xFF;//寄存器1L-数据
								send_buff[11]=(Target_Position>>8)&0xFF;//寄存器2H-数据
								send_buff[12]=Target_Position&0xFF;//寄存器2L-数据
								send(1,send_buff,13);//向客户端发送
								memset(send_buff,0,13);
							}
							else if(Drive_control_array[9]==0x7E)//判断起始地址——设备最大运行行程
							{
								send_buff[8]=Data_Bytes;//接下来数据的字节长度
								send_buff[9]=0X00;//寄存器1H-数据
								send_buff[10]=0X00;//寄存器1L-数据
								send_buff[11]=0X00;//寄存器2H-数据
								send_buff[12]=0X00;//寄存器2L-数据
								send(1,send_buff,13);//向客户端发送
								memset(send_buff,0,13);
							}
							else if(Drive_control_array[9]==0x80)//判断起始地址——零点位置坐标
							{
								send_buff[8]=Data_Bytes;//接下来数据的字节长度
								send_buff[9]=0X00;//寄存器1H-数据
								send_buff[10]=0X00;//寄存器1L-数据
								send_buff[11]=0X00;//寄存器2H-数据
								send_buff[12]=0X00;//寄存器2L-数据
								send(1,send_buff,13);//向客户端发送
								memset(send_buff,0,13);
							}
						}
					}
					break;

				case 0x05://写单个线圈(请求：MBAP 功能码 寄存器地址H 寄存器地址L 数据H(FF/00) 数据L(00))
					send_buff[4]=0X00;//数据长度
					send_buff[5]=0X06;//数据长度
					send_buff[8]=Drive_control_array[8];//寄存器地址H
					send_buff[9]=Drive_control_array[9];//寄存器地址H
					if(Drive_control_array[8]==0x20)//判断起始地址
					{
						switch(Drive_control_array[9])//判断起始地址
						{
							case 0x01://原点回归/停止
								if(Drive_control_array[10]==0xFF)//回归
								{
									if(Position_flag==0)//不在原点
									{
										Motor_Rive(GPIO_PIN_RESET,GPIO_PIN_SET,zero_return_speed_value);//开始，顺时针，原点回归速度
										Sports_status_flag=1;
									}
									send_buff[10]=0XFF;
									send_buff[11]=0X00;
								}
								else if(Drive_control_array[10]==0x00)//停止
								{
									HAL_TIM_PWM_Stop_IT(&htim8,TIM_CHANNEL_1);//关闭PWM输出
									HAL_GPIO_WritePin(TIM8_CH1N_GPIO_Port,TIM8_CH1N_Pin,GPIO_PIN_SET);//PA7-电机使能正输入(GPIO_PIN_RESET:开始，GPIO_PIN_SET:停止）
									Sports_status_flag=0;
									send_buff[10]=0X00;
									send_buff[11]=0X00;
								}
								send(1,send_buff,12);//向客户端发送
								memset(send_buff,0,13);
								break;

							case 0x02://正转点动/停止
								if(Drive_control_array[10]==0xFF)//开始
								{
									Motor_Rive(GPIO_PIN_RESET,GPIO_PIN_RESET,running_speed_value);//开始，顺时针，运行速度
									Sports_status_flag=1;
									Position_flag=0;
									send_buff[10]=0XFF;
									send_buff[11]=0X00;
								}
								else//停止
								{
									HAL_TIM_PWM_Stop_IT(&htim8,TIM_CHANNEL_1);//关闭PWM输出
									HAL_GPIO_WritePin(TIM8_CH1N_GPIO_Port,TIM8_CH1N_Pin,GPIO_PIN_SET);//PA7-电机使能正输入(GPIO_PIN_RESET:开始，GPIO_PIN_SET:停止）
									Sports_status_flag=0;
									send_buff[10]=0X00;
									send_buff[11]=0X00;
								}
								send(1,send_buff,12);//向客户端发送
								memset(send_buff,0,13);
								break;

							case 0x03://反转点动/停止
								if(Drive_control_array[10]==0xFF)//开始
								{
									Motor_Rive(GPIO_PIN_RESET,GPIO_PIN_SET,running_speed_value);//开始，顺时针，运行速度
									Position_flag=0;
									Sports_status_flag=1;
									send_buff[10]=0XFF;
									send_buff[11]=0X00;
								}
								else//停止
								{
									HAL_TIM_PWM_Stop_IT(&htim8,TIM_CHANNEL_1);//关闭PWM输出
									HAL_GPIO_WritePin(TIM8_CH1N_GPIO_Port,TIM8_CH1N_Pin,GPIO_PIN_SET);//PA7-电机使能正输入(GPIO_PIN_RESET:开始，GPIO_PIN_SET:停止）
									Sports_status_flag=0;
									send_buff[10]=0X00;
									send_buff[11]=0X00;
								}
								send(1,send_buff,12);//向客户端发送
								memset(send_buff,0,13);
								break;

							case 0x04://相对运动/停止
								if(Drive_control_array[10]==0xFF)//开始
								{
									Motor_Rive(GPIO_PIN_RESET,GPIO_PIN_RESET,running_speed_value);//开始，顺时针，运行速度
									Position_flag=0;
									Sports_status_flag=1;
									send_buff[10]=0XFF;
									send_buff[11]=0X00;
								}
								else//停止
								{
									HAL_TIM_PWM_Stop_IT(&htim8,TIM_CHANNEL_1);//关闭PWM输出
									HAL_GPIO_WritePin(TIM8_CH1N_GPIO_Port,TIM8_CH1N_Pin,GPIO_PIN_SET);//PA7-电机使能正输入(GPIO_PIN_RESET:开始，GPIO_PIN_SET:停止）
									Sports_status_flag=0;
									send_buff[10]=0X00;
									send_buff[11]=0X00;
								}
								send(1,send_buff,12);//向客户端发送
								memset(send_buff,0,13);
								break;

							case 0x05://绝对运动/停止
								if(Drive_control_array[10]==0xFF)//开始
								{
									Motor_Rive(GPIO_PIN_RESET,GPIO_PIN_RESET,running_speed_value);//开始，顺时针，运行速度
									Position_flag=0;
									Sports_status_flag=1;
									send_buff[10]=0XFF;
									send_buff[11]=0X00;
								}
								else//停止
								{
									HAL_TIM_PWM_Stop_IT(&htim8,TIM_CHANNEL_1);//关闭PWM输出
									HAL_GPIO_WritePin(TIM8_CH1N_GPIO_Port,TIM8_CH1N_Pin,GPIO_PIN_SET);//PA7-电机使能正输入(GPIO_PIN_RESET:开始，GPIO_PIN_SET:停止）
									Sports_status_flag=0;
									send_buff[10]=0X00;
									send_buff[11]=0X00;
								}
								send(1,send_buff,12);//向客户端发送
								memset(send_buff,0,13);
								break;

							case 0x14://停止运动状态
								if(Drive_control_array[10]==0xFF)//停止
								{
									HAL_TIM_PWM_Stop_IT(&htim8,TIM_CHANNEL_1);//关闭PWM输出
									HAL_GPIO_WritePin(TIM8_CH1N_GPIO_Port,TIM8_CH1N_Pin,GPIO_PIN_SET);//PA7-电机使能正输入(GPIO_PIN_RESET:开始，GPIO_PIN_SET:停止）
									Sports_status_flag=0;
									send_buff[10]=0XFF;
									send_buff[11]=0X00;
								}
								else
								{
									send_buff[10]=0X00;
									send_buff[11]=0X00;
								}
								send(1,send_buff,12);//向客户端发送
								memset(send_buff,0,13);
								break;

							case 0x00://硬触发启动/停止
								if(Drive_control_array[10]==0xFF)//开始
								{
									Hard_Trigger_start_flag=1;
									send_buff[10]=0XFF;
									send_buff[11]=0X00;
								}
								else//停止
								{
									Hard_Trigger_start_flag=0;
									send_buff[10]=0X00;
									send_buff[11]=0X00;
								}
								send(1,send_buff,12);//向客户端发送
								memset(send_buff,0,13);
								break;

							case 0x06://伺服复位

								break;

							case 0x07://伺服急停

								break;

							case 0x09://雷达上电/断电
//								if()//
//								{
//									send_buff[10]=0XFF;
//									send_buff[11]=0X00;
//								}
//								else//
//								{
//									send_buff[10]=0X00;
//									send_buff[11]=0X00;
//								}
								send(1,send_buff,12);//向客户端发送
								memset(send_buff,0,13);
								break;

							case 0x0F://PLC错误清除

								break;

							default:
								break;
						}
					}
					break;

				case 0x06://写单个保持寄存器(请求：MBAP 功能码 寄存器地址H 寄存器地址L 寄存器值H 寄存器值L)
					if(Sports_status_flag==0)//未开始运动
					{
						send_buff[4]=0X00;//数据长度
						send_buff[5]=0X06;//数据长度
						send_buff[8]=Drive_control_array[8];//寄存器地址
						send_buff[9]=Drive_control_array[9];//寄存器地址
						send_buff[10]=Drive_control_array[10];//寄存器值H
						send_buff[11]=Drive_control_array[11];//寄存器值L
						if(Drive_control_array[8]==0x01)//判断起始地址
						{
							if(Drive_control_array[9]==0x4A)//判断起始地址——加速时间
							{
								send(1,send_buff,12);//向客户端发送
								memset(send_buff,0,13);
							}
							else if(Drive_control_array[9]==0x4E)//判断起始地址——减速时间
							{
								send(1,send_buff,12);//向客户端发送
								memset(send_buff,0,13);
							}
							else if(Drive_control_array[9]==0x00)//判断起始地址——实时位置上传控制
							{
								if(Drive_control_array[10]||Drive_control_array[11])
								{
									Position_upload_flag=1;//开始实时位置上传
								}
								else
								{
									Position_upload_flag=0;//停止实时位置上传
								}
								send(1,send_buff,12);//向客户端发送
								memset(send_buff,0,13);
							}
							else if(Drive_control_array[9]==0x30)//判断起始地址——硬触发个数
							{
								Hard_Trigger_Number=(Drive_control_array[10]<<8|Drive_control_array[11]);//大端传输数据处理——硬触发个数
								send(1,send_buff,12);//向客户端发送
								memset(send_buff,0,13);
							}
						}
					}
					break;

				case 0x10://写多个保持寄存器(请求：MBAP(7位) 功能码 起始地址H 起始地址L 寄存器数量H 寄存器数量L 字节长度 寄存器值)
					if(Sports_status_flag==0)//未开始运动
					{
						send_buff[4]=0X00;//数据长度
						send_buff[5]=0X06;//数据长度
						send_buff[8]=Drive_control_array[8];//寄存器起始地址H
						send_buff[9]=Drive_control_array[9];//寄存器起始地址L
						send_buff[10]=Drive_control_array[10];//寄存器数量H
						send_buff[11]=Drive_control_array[11];//寄存器数量L
						if(Drive_control_array[8]==0x00)//判断起始地址
						{
							if(Drive_control_array[9]==0x64)//判断起始地址——回零速度
							{
								zero_return_speed_value=(Drive_control_array[13]<<24|Drive_control_array[14]<<16|Drive_control_array[15]<<8|Drive_control_array[16]);//大端传输数据处理——回零速度0.001mm/s
								send(1,send_buff,12);//向客户端发送
								memset(send_buff,0,13);
							}
							else if(Drive_control_array[9]==0x68)//判断起始地址——回零蠕变速度
							{
								zero_return_creep_speed_value=(Drive_control_array[13]<<24|Drive_control_array[14]<<16|Drive_control_array[15]<<8|Drive_control_array[16]);//大端传输数据处理——回零蠕变速度0.001mm/s
								send(1,send_buff,12);//向客户端发送
								memset(send_buff,0,13);
							}
							else if(Drive_control_array[9]==0x78)//判断起始地址——运行速度
							{
								running_speed_value=(Drive_control_array[13]<<24|Drive_control_array[14]<<16|Drive_control_array[15]<<8|Drive_control_array[16]);//大端传输数据处理——运行速度0.001mm/s
								send(1,send_buff,12);//向客户端发送
								memset(send_buff,0,13);
							}
							else if(Drive_control_array[9]==0x7A)//判断起始地址——相对定位距离
							{
								send(1,send_buff,12);//向客户端发送
								memset(send_buff,0,13);
							}
							else if(Drive_control_array[9]==0x7C)//判断起始地址——绝对定位位置
							{
								Target_Position=(Drive_control_array[13]<<24|Drive_control_array[14]<<16|Drive_control_array[15]<<8|Drive_control_array[16]);//大端传输数据处理——绝对定位位置0.001mm
								send(1,send_buff,12);//向客户端发送
								memset(send_buff,0,13);
							}
							else if(Drive_control_array[9]==0x7E)//判断起始地址——设备最大运行行程
							{
								send(1,send_buff,12);//向客户端发送
								memset(send_buff,0,13);
							}
							else if(Drive_control_array[9]==0x80)//判断起始地址——零点位置坐标
							{
								send(1,send_buff,12);//向客户端发送
								memset(send_buff,0,13);
							}
						}
						else if(Drive_control_array[8]==0x01)//判断起始地址
						{
							if(Drive_control_array[9]==0x2C)//判断起始地址——起始硬触发位置
							{
								Hard_Trigger_Position=(Drive_control_array[13]<<24|Drive_control_array[14]<<16|Drive_control_array[15]<<8|Drive_control_array[16]);//大端传输数据处理——起始硬触发位置0.001mm
								send(1,send_buff,12);//向客户端发送
								memset(send_buff,0,13);
							}
							else if(Drive_control_array[9]==0x2E)//判断起始地址——硬触发间隔
							{
								Hard_Trigger_Interval=(Drive_control_array[13]<<24|Drive_control_array[14]<<16|Drive_control_array[15]<<8|Drive_control_array[16]);//大端传输数据处理——硬触发间隔0.001mm
								send(1,send_buff,12);//向客户端发送
								memset(send_buff,0,13);
							}
						}
					}
					break;

				default:
					break;
			}
			memset(Drive_control_array,0,20);
		}
  }
}

float sd;
uint32_t Trigger_Interval;//触发间隔
void Encoder(void *argument)//电动机编码器通讯
{
//	if(Position_flag==1)//复位到原点后开始采集编码器
//	{

		HAL_TIM_Encoder_Start(&htim2, TIM_CHANNEL_ALL);      //开启编码器定时器
		__HAL_TIM_ENABLE_IT(&htim2,TIM_IT_UPDATE);          //开启编码器定时器更新中断,防溢出处理
		HAL_TIM_Base_Start_IT(&htim3);                    //开启100ms定时器中断
		__HAL_TIM_SetCounter(&htim2, 10000);               //编码器定时器初始值设定为10000
		motor1.lastCount = 0;                               //结构体内容初始化
		motor1.totalCount = 0;
		motor1.overflowNum = 0;
		motor1.speed = 0;
		motor1.direct = 0;
		motor1.distance = 0;
		Position=0;
		Position_upload=0;
//	}
  for(;;)
  {
		osDelay(1);
		if(Encoder_Processing_flag==1)
		{
			Encoder_Processing_flag=0;
			motor1.direct = __HAL_TIM_IS_TIM_COUNTING_DOWN(&htim2);//如果向上计数（正转），返回值为0，否则返回值为1
			int16_t pluse = COUNTERNUM - (RELOADVALUE)/2;
			motor1.totalCount = pluse+ motor1.overflowNum * (int16_t)RELOADVALUE/2;//从开始到现在当前100ms的总脉冲数
			motor1.speed = (float)(motor1.totalCount - motor1.lastCount) / (4 * MOTOR_SPEED_RERATIO * PULSE_PRE_ROUND);//算得10ms转了多少圈,除以4是因为4倍频
//			motor1.speed = Speed_Low_Filter(motor1.speed,speed_Record);//滤波函数
			motor1.lastCount = motor1.totalCount; //记录这一次的计数值
			motor1.distance = One_Circle_Distance * motor1.speed;//计算10ms移动距离（单位mm）
			sd=motor1.distance*100;//1秒移动的距离
			if(Hard_Trigger_flag==1)
			{
				Trigger_Interval=Trigger_Interval+motor1.distance*1000;
				if(Trigger_Interval>=Hard_Trigger_Interval)
				{
					Hard_Trigger_flag=0;
					Trigger_Interval=0;
				}
			}
			if(Position_flag==1)//原点校准
			{
				motor1.lastCount=0;
				motor1.totalCount=0;
				motor1.overflowNum=0;
				motor1.speed=0;
				motor1.direct = 0;
				motor1.distance = 0;
				Position=0;
				Position_upload=0;
				pluse=0;
			}
			else
			{
				Position = Position + motor1.distance;	//距原点距离
				Position_upload = Position*1000;//位置上传数据（单位0.001mm）
				if(Position_upload>=Target_Position)//到达绝对定位位置停止运动
				{
					HAL_TIM_PWM_Stop_IT(&htim8,TIM_CHANNEL_1);//关闭PWM输出
					HAL_GPIO_WritePin(TIM8_CH1N_GPIO_Port,TIM8_CH1N_Pin,GPIO_PIN_SET);//PA7-电机使能正输入(GPIO_PIN_RESET:开始，GPIO_PIN_SET:停止）
					Sports_status_flag=0;	//运动状态
				}
			}
		}
  }
}

void Pulse_Emission(void *argument)//脉冲触发（TIM13通道）
{
  for(;;)
  {
		osDelay(1);
		if(Hard_Trigger_start_flag==1&&Position_upload>=Hard_Trigger_Position&&Sports_status_flag==1)//硬触发条件(硬触发启动，到达硬触发位置，运动状态)
		{
			if(Hard_Trigger_flag==0)
			{
				if(Hard_Trigger_Current_Number<Hard_Trigger_Number)//硬触发次数判定
				{
					Hard_Trigger_Current_Number++;
					HAL_GPIO_WritePin(IO_OUT_GPIO_Port, IO_OUT_Pin, GPIO_PIN_SET);//PA2-硬触发
					HAL_TIM_Base_Start_IT(&htim13);//开启TIM13定时器中断（10MHZ，计数500次，50us）
				}
				else
				{
					Hard_Trigger_Current_Number=0;
					Hard_Trigger_start_flag=0;
				}
			}
		}
		else if(Hard_Trigger_start_flag==0)
		{
			Hard_Trigger_Current_Number=0;
		}
  }
}

void Extreme_position_Drive(void *argument)//极限位置控制
{
	uint8_t number_a=0xff;
  for(;;)
  {
		if(Extreme_position_flag==1&&Sports_status_flag==1)
		{
			HAL_GPIO_WritePin(TIM8_CH1N_GPIO_Port,TIM8_CH1N_Pin,GPIO_PIN_RESET);//PA7-电机使能正输入(GPIO_PIN_RESET:开始，GPIO_PIN_SET:停止）
			osDelay(1);
			HAL_GPIO_TogglePin(GPIOC,GPIO_PIN_7);//控制电机驱动控制电机正反转
			osDelay(1);
			while(number_a>zero_return_speed_value)
			{
				number_a--;
				HAL_TIM_Base_Start_IT(&htim8);//开启TIM8定时器中断（20KHZ，周期50us）
				__HAL_TIM_SET_AUTORELOAD(&htim8,number_a);//修改自动重装载值
				HAL_TIM_PWM_Start_IT(&htim8,TIM_CHANNEL_1);//启动TIM8_CH1的PWM波输出（中断）
				osDelay(5);
			}
			number_a=0xff;
			Extreme_position_flag=0;
		}
    osDelay(1);
		osDelay(100);
		HAL_GPIO_TogglePin(GPIOC, LED1_Pin);
  }
}
/* USER CODE END Application */
